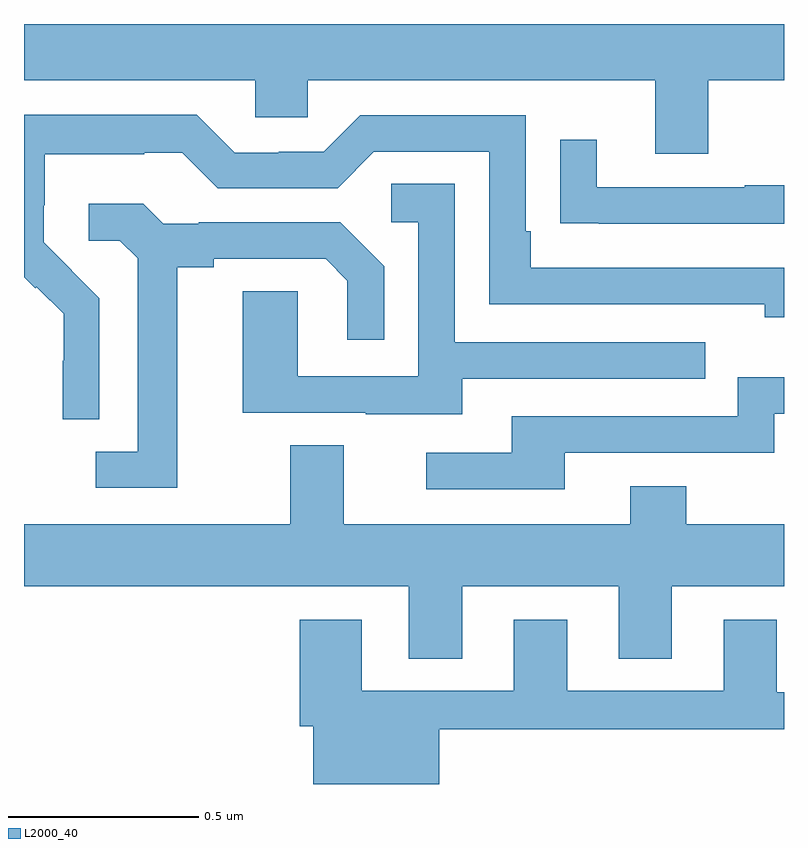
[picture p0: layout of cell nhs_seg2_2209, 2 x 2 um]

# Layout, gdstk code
import gdstk
lib = gdstk.Library(unit=1e-6, precision=1e-09)
def P(c, l, *ps):  # polygons
    for p in ps: c.add(gdstk.Polygon(p, *l))
L2000_40 = (2000, 40)

nhs_seg2_2209 = lib.new_cell('nhs_seg2_2209')
P(nhs_seg2_2209, L2000_40, [(139.801,631.652),(140,631.652),(140,631.8),(138,631.8),(138,631.652),(138.609,631.652),(138.609,631.554),(138.747,631.554),(138.747,631.652),(139.661,631.652),(139.661,631.458),(139.801,631.458)],
  [(138.198,631.078),(138.125,631.151),(138.126,631.152),(138.052,631.226),(138.052,631.323),(138.054,631.323),(138.054,631.457),(138.317,631.457),(138.317,631.461),(138.417,631.461),(138.51,631.368),(138.825,631.368),(138.921,631.464),(139.224,631.464),(139.224,631.062),(139.949,631.062),(139.949,631.028),(140,631.028),(140,631.158),(139.333,631.158),(139.333,631.255),(139.32,631.255),(139.32,631.56),(138.885,631.56),(138.789,631.464),(138.671,631.464),(138.671,631.461),(138.555,631.461),(138.455,631.561),(138,631.561),(138,631.134),(138.03,631.104),(138.033,631.107),(138.104,631.037),(138.104,630.914),(138.102,630.914),(138.102,630.76),(138.198,630.76)],
  [(140,631.376),(139.897,631.376),(139.897,631.371),(139.507,631.371),(139.507,631.495),(139.411,631.495),(139.411,631.276),(139.513,631.276),(139.513,631.275),(140,631.275)],
  [(139.153,630.867),(139.793,630.867),(139.793,630.963),(139.134,630.963),(139.134,631.379),(138.966,631.379),(138.966,631.278),(139.038,631.278),(139.038,630.873),(138.72,630.873),(138.72,631.097),(138.575,631.097),(138.575,630.777),(138.899,630.777),(138.899,630.773),(139.153,630.773)],
  [(138.403,631.16),(138.499,631.16),(138.499,631.182),(138.794,631.182),(138.851,631.125),(138.851,630.969),(138.948,630.969),(138.948,631.162),(138.832,631.278),(138.46,631.278),(138.46,631.275),(138.366,631.275),(138.314,631.327),(138.171,631.327),(138.171,631.23),(138.252,631.23),(138.299,631.183),(138.299,630.675),(138.189,630.675),(138.189,630.579),(138.403,630.579)],
  [(139.423,630.672),(139.974,630.672),(139.974,630.774),(140,630.774),(140,630.871),(139.878,630.871),(139.878,630.768),(139.283,630.768),(139.283,630.672),(139.059,630.672),(139.059,630.576),(139.423,630.576)],
  [(139.153,630.32),(139.565,630.32),(139.565,630.13),(139.705,630.13),(139.705,630.32),(140,630.32),(140,630.484),(139.743,630.484),(139.743,630.583),(139.595,630.583),(139.595,630.484),(138.841,630.484),(138.841,630.692),(138.701,630.692),(138.701,630.484),(138,630.484),(138,630.32),(139.013,630.32),(139.013,630.13),(139.153,630.13)],
  [(139.093,629.944),(140,629.944),(140,630.042),(139.981,630.042),(139.981,630.232),(139.841,630.232),(139.841,630.045),(139.429,630.045),(139.429,630.232),(139.289,630.232),(139.289,630.045),(138.889,630.045),(138.889,630.232),(138.725,630.232),(138.725,629.952),(138.761,629.952),(138.761,629.8),(139.093,629.8)])

lib.write_gds('nhs_seg2_2209.gds')
